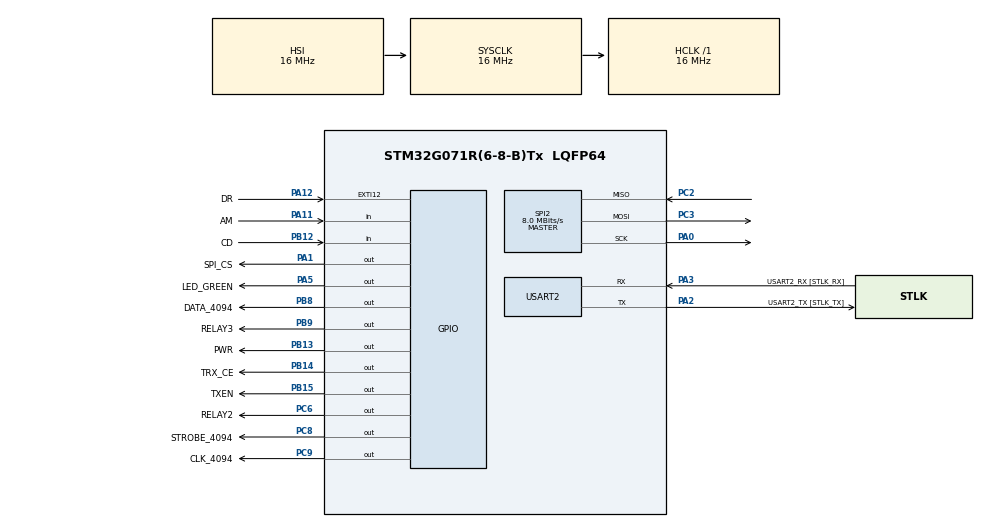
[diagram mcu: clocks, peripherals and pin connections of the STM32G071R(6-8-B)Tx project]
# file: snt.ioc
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Mcu.Family=STM32G0
Mcu.Name=STM32G071R(6-8-B)Tx
Mcu.Package=LQFP64
NVIC.EXTI4_15_IRQn=true\:0\:0\:false\:false\:true\:true\:true\:true
NVIC.SPI2_IRQn=true\:0\:0\:false\:false\:true\:true\:true\:true
NVIC.TIM2_IRQn=true\:0\:0\:false\:false\:true\:true\:true\:true
PA0.GPIO_PuPd=GPIO_NOPULL
PA0.Mode=Full_Duplex_Master
PA0.Signal=SPI2_SCK
PA1.GPIO_Label=SPI_CS
PA1.GPIO_PuPd=GPIO_NOPULL
PA1.Signal=GPIO_Output
PA11\ [PA9].GPIO_Label=AM
PA11\ [PA9].Signal=GPIO_Input
PA12\ [PA10].GPIO_Label=DR
PA12\ [PA10].GPIO_ModeDefaultEXTI=GPIO_MODE_IT_RISING_FALLING
PA12\ [PA10].Signal=GPXTI12
PA13.GPIO_Label=TMS
PA13.Mode=Serial_Wire
PA13.Signal=SYS_SWDIO
PA14-BOOT0.GPIO_Label=TCK
PA14-BOOT0.Mode=Serial_Wire
PA14-BOOT0.Signal=SYS_SWCLK
PA2.GPIO_Label=USART2_TX [STLK_TX]
PA2.GPIO_PuPd=GPIO_PULLUP
PA2.Mode=Asynchronous
PA2.Signal=USART2_TX
PA3.GPIO_Label=USART2_RX [STLK_RX]
PA3.GPIO_PuPd=GPIO_PULLUP
PA3.Mode=Asynchronous
PA3.Signal=USART2_RX
PA5.GPIO_Label=LED_GREEN
PA5.GPIO_Speed=GPIO_SPEED_FREQ_HIGH
PA5.Signal=GPIO_Output
PB12.GPIO_Label=CD
PB12.Signal=GPIO_Input
PB13.GPIO_Label=PWR
PB13.GPIO_PuPd=GPIO_NOPULL
PB13.Signal=GPIO_Output
PB14.GPIO_Label=TRX_CE
PB14.GPIO_PuPd=GPIO_NOPULL
PB14.Signal=GPIO_Output
PB15.GPIO_Label=TXEN
PB15.GPIO_PuPd=GPIO_NOPULL
PB15.Signal=GPIO_Output
PB8.GPIO_Label=DATA_4094
PB8.Signal=GPIO_Output
PB9.GPIO_Label=RELAY3
PB9.Signal=GPIO_Output
PC13.Mode=SYS_WakeUp1
PC13.Signal=SYS_WKUP2
PC14-OSC32_IN\ (PC14).Mode=LSE-External-Oscillator
PC14-OSC32_IN\ (PC14).Signal=RCC_OSC32_IN
PC15-OSC32_OUT\ (PC15).Mode=LSE-External-Oscillator
PC15-OSC32_OUT\ (PC15).Signal=RCC_OSC32_OUT
PC2.GPIO_PuPd=GPIO_NOPULL
PC2.Mode=Full_Duplex_Master
PC2.Signal=SPI2_MISO
PC3.GPIO_PuPd=GPIO_NOPULL
PC3.Mode=Full_Duplex_Master
PC3.Signal=SPI2_MOSI
PC6.GPIO_Label=RELAY2
PC6.Signal=GPIO_Output
PC8.GPIO_Label=STROBE_4094
PC8.Signal=GPIO_Output
PC9.GPIO_Label=CLK_4094
PC9.Signal=GPIO_Output
PF0-OSC_IN\ (PF0).GPIO_Label=MCO
PF0-OSC_IN\ (PF0).Mode=HSE-External-Clock-Source
PF0-OSC_IN\ (PF0).Signal=RCC_OSC_IN
ProjectManager.HeapSize=0x200
ProjectManager.StackSize=0x400
ProjectManager.TargetToolchain=STM32CubeIDE
RCC.AHBFreq_Value=16000000
RCC.CortexFreq_Value=16000000
RCC.EXTERNAL_CLOCK_VALUE=12288000
RCC.HCLKFreq_Value=16000000
RCC.HSE_VALUE=8000000
RCC.HSI_VALUE=16000000
RCC.SYSCLKFreq_VALUE=16000000
RCC.VCOOutputFreq_Value=128000000
SPI2.BaudRatePrescaler=SPI_BAUDRATEPRESCALER_2
SPI2.CalculateBaudRate=8.0 MBits/s
SPI2.DataSize=SPI_DATASIZE_8BIT
SPI2.Direction=SPI_DIRECTION_2LINES
SPI2.Mode=SPI_MODE_MASTER
SPI2.VirtualType=VM_MASTER
TIM2.Period=3600
TIM2.Prescaler=20
TIM3.Prescaler=79
USART2.VirtualMode-Asynchronous=VM_ASYNC
VP_SYS_VS_DBSignals.Mode=DisableDeadBatterySignals
VP_TIM2_VS_ClockSourceINT.Mode=Internal
VP_TIM3_VS_ClockSourceINT.Mode=Internal
board=NUCLEO-G071RB

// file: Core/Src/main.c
/* USER CODE BEGIN Header */
/**
  **************************
  * @file           : main.c
  * @brief          : Main program body
  **************************
  * @attention
  *
  * Copyright (c) 2022 STMicroelectronics.
  * All rights reserved.
  *
  * This software is licensed under terms that can be found in the LICENSE file
  * in the root directory of this software component.
  * If no LICENSE file comes with this software, it is provided AS-IS.
  *
  **************************
  */
/* USER CODE END Header */
#include "main.h"
#include "spi.h"
#include "tim.h"
#include "usart.h"
#include "gpio.h"

/* USER CODE BEGIN Includes */
#include <stdio.h>
#include <stdlib.h>
#include "cd4094.h"

#include "NRF905.h"
/* USER CODE END Includes */

void SystemClock_Config(void);
/* USER CODE BEGIN PFP */
//int _write(int file, char *ptr, int len) {
//	HAL_UART_Transmit(&huart2, (uint8_t*) ptr, len, 50);
//	for (int i = 0; i < len; i++) {
//		ITM_SendChar(*ptr++);
//	}
//	return len;
//}
/* USER CODE END PFP */

/* USER CODE BEGIN 0 */
extern void initialise_monitor_handles(void);
NRF905_hw_t NRF905_hw;
NRF905_t NRF905;

int master;

uint8_t nrf905_payload_buffer[NRF905_MAX_PAYLOAD];

int counter = 0;
int shift_num = 0x00000000;
int temp_num = 0x10000000;
int led = 0;

uint32_t my_address;
uint32_t receiver_address;

#define ADDRESS_MASTER 0xA2B5D154
#define ADDRESS_SLAVE  0xA2B5D154

/* USER CODE END 0 */

int main(void)
{
  /* USER CODE BEGIN 1 */
	initialise_monitor_handles();
  /* USER CODE END 1 */

  /* MCU Configuration--------------------------------------------------------*/

  /* Reset of all peripherals, Initializes the Flash interface and the Systick. */
  HAL_Init();

  /* USER CODE BEGIN Init */
  portInit_shiftreg();

  /* USER CODE END Init */

  /* Configure the system clock */
  SystemClock_Config();

  /* Initialize all configured peripherals */
  MX_GPIO_Init();
  MX_USART2_UART_Init();
  MX_SPI2_Init();
  MX_TIM3_Init();
  MX_TIM2_Init();
  /* USER CODE BEGIN 2 */
  HAL_TIM_Base_Start_IT(&htim2);

  uint32_t uid = 0x00;
  	for (uint8_t i = 0; i < 3; ++i) {
  		uid += (uint32_t) (UID_BASE + i * 4);
  	}
  	srand(uid);

  	NRF905_hw.gpio[NRF905_HW_GPIO_TXEN].pin = TXEN_Pin;
  	NRF905_hw.gpio[NRF905_HW_GPIO_TXEN].port = TXEN_GPIO_Port;
  	NRF905_hw.gpio[NRF905_HW_GPIO_TRX_EN].pin = TRX_CE_Pin;
  	NRF905_hw.gpio[NRF905_HW_GPIO_TRX_EN].port = TRX_CE_GPIO_Port;
  	NRF905_hw.gpio[NRF905_HW_GPIO_PWR].pin = PWR_Pin;
  	NRF905_hw.gpio[NRF905_HW_GPIO_PWR].port = PWR_GPIO_Port;

  	NRF905_hw.gpio[NRF905_HW_GPIO_CD].pin = CD_Pin;
  	NRF905_hw.gpio[NRF905_HW_GPIO_CD].port = CD_GPIO_Port;
  	NRF905_hw.gpio[NRF905_HW_GPIO_AM].pin = AM_Pin;
  	NRF905_hw.gpio[NRF905_HW_GPIO_AM].port = AM_GPIO_Port;
  	NRF905_hw.gpio[NRF905_HW_GPIO_DR].pin = DR_Pin;
  	NRF905_hw.gpio[NRF905_HW_GPIO_DR].port = DR_GPIO_Port;

  	NRF905_hw.gpio[NRF905_HW_GPIO_CS].pin = SPI_CS_Pin;
  	NRF905_hw.gpio[NRF905_HW_GPIO_CS].port = SPI_CS_GPIO_Port;

  	NRF905_hw.tim = &htim3;
  	NRF905_hw.spi = &hspi2;

  	master = 0;
  	if (master == 1) {
  		my_address = ADDRESS_MASTER;
  		receiver_address = ADDRESS_SLAVE;
  	} else {
  		my_address = ADDRESS_SLAVE;
  		receiver_address = ADDRESS_MASTER;
  	}

  	if (master == 1) {
  		printf("Mode: Master, TX, %08lX\r\n", my_address);
  	} else {
  		printf("Mode: Slave, RX, %08lX\r\n", my_address);
  	}

  	NRF905_init(&NRF905, &NRF905_hw);
  	NRF905_set_listen_address(&NRF905, receiver_address);

  	printf("Reg conf: ");
  	for (int i = 0; i < 10; ++i) {
  		uint8_t d = NRF905_read_config_register(&NRF905, i);
  		printf("%02X, ", d);
  	}
  	printf("\r\n");
  /* USER CODE END 2 */

  /* Infinite loop */
  /* USER CODE BEGIN WHILE */
	while (1) {

		NRF905_rx(&NRF905);

//		If no message has been received for the past 10ms, all relays are set to low
//		System is stable atleast upto 2ms
		if (counter >= 10) {

			shift_num = 0x00000000;
			led = 0;
			counter = 0;

		}

//		Writes to shift register only if there is a change of state
		if(shift_num != temp_num){

			triggerRelays(shift_num);
			HAL_GPIO_WritePin(LED_GREEN_GPIO_Port, LED_GREEN_Pin, led);
			temp_num = shift_num;
		}

    /* USER CODE END WHILE */

  }
}

void SystemClock_Config(void)
{
  RCC_OscInitTypeDef RCC_OscInitStruct = {0};
  RCC_ClkInitTypeDef RCC_ClkInitStruct = {0};

  /** Configure the main internal regulator output voltage
  */
  HAL_PWREx_ControlVoltageScaling(PWR_REGULATOR_VOLTAGE_SCALE1);

  /** Initializes the RCC Oscillators according to the specified parameters
  * in the RCC_OscInitTypeDef structure.
  */
  RCC_OscInitStruct.OscillatorType = RCC_OSCILLATORTYPE_HSI;
  RCC_OscInitStruct.HSIState = RCC_HSI_ON;
  RCC_OscInitStruct.HSIDiv = RCC_HSI_DIV1;
  RCC_OscInitStruct.HSICalibrationValue = RCC_HSICALIBRATION_DEFAULT;
  RCC_OscInitStruct.PLL.PLLState = RCC_PLL_NONE;
  if (HAL_RCC_OscConfig(&RCC_OscInitStruct) != HAL_OK)
  {
    Error_Handler();
  }

  /** Initializes the CPU, AHB and APB buses clocks
  */
  RCC_ClkInitStruct.ClockType = RCC_CLOCKTYPE_HCLK|RCC_CLOCKTYPE_SYSCLK
                              |RCC_CLOCKTYPE_PCLK1;
  RCC_ClkInitStruct.SYSCLKSource = RCC_SYSCLKSOURCE_HSI;
  RCC_ClkInitStruct.AHBCLKDivider = RCC_SYSCLK_DIV1;
  RCC_ClkInitStruct.APB1CLKDivider = RCC_HCLK_DIV1;

  if (HAL_RCC_ClockConfig(&RCC_ClkInitStruct, FLASH_LATENCY_0) != HAL_OK)
  {
    Error_Handler();
  }
}

/* USER CODE BEGIN 4 */

// Callback for completion of read from SPI buffer
void HAL_SPI_RxCpltCallback(SPI_HandleTypeDef *hspi){

	NRF905_spi_deselect(&NRF905);

}

// Callback for DR Pin Interrupt
// DR Pin is set high when the message is transmitted successfully
void HAL_GPIO_EXTI_Rising_Callback(uint16_t GPIO_Pin)
{

	if (GPIO_Pin == GPIO_PIN_12){

		NRF905_read_it(&NRF905, (uint8_t*)nrf905_payload_buffer, NRF905_MAX_PAYLOAD);

//		Verifies data by looking for check bytes in the transmission
		if((nrf905_payload_buffer[0]==0xD3) && (nrf905_payload_buffer[4]==0x16) &&
				(nrf905_payload_buffer[8]==0x69)){

//			Combines the incoming data of 3 separate bytes into 1 uint32
			uint32_t no1 = ((uint32_t)nrf905_payload_buffer[3] << 16) | ((uint32_t)nrf905_payload_buffer[2] << 8)
					| ((uint32_t)nrf905_payload_buffer[1]);

			uint32_t no2 = ((uint32_t)nrf905_payload_buffer[7] << 16) | ((uint32_t)nrf905_payload_buffer[6] << 8)
					| ((uint32_t)nrf905_payload_buffer[5]);

//			Verifies if both 3 byte numbers are the same
			if(no1 == no2){
				shift_num = no1;
				led = 1;
				counter = 0;
			}
		}
	}

}

//	Timer for checking time since last message
//	1 tick = 1ms
void HAL_TIM_PeriodElapsedCallback(TIM_HandleTypeDef* htim){

	counter++;

}
/* USER CODE END 4 */

void Error_Handler(void)
{
  __disable_irq();
  while (1)
  {
  }
}
